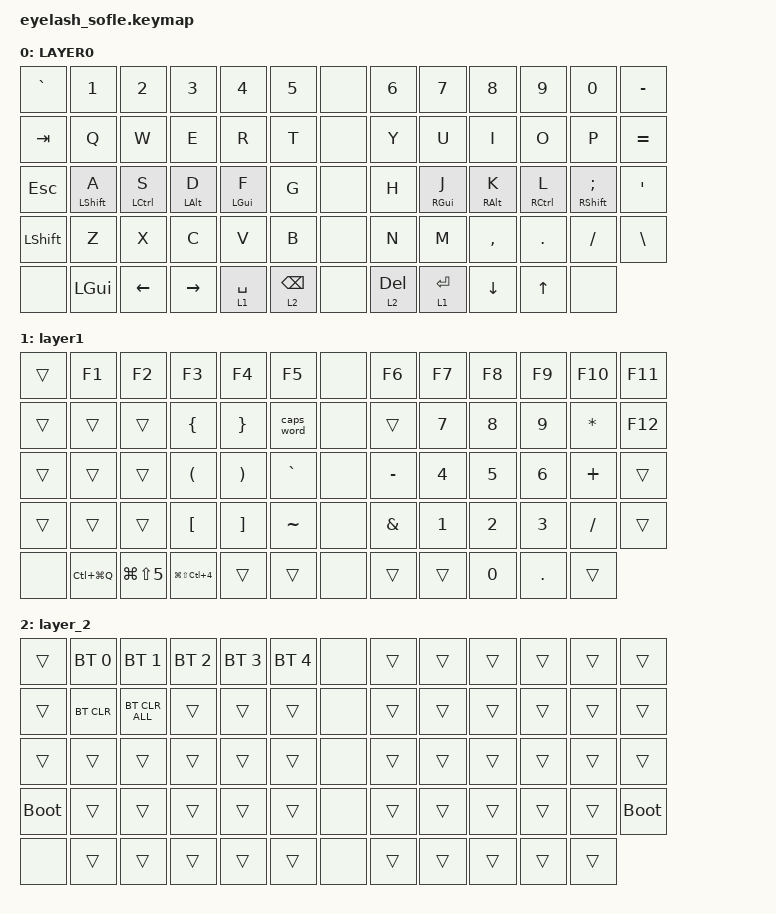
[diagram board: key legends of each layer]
#define ZMK_POINTING_DEFAULT_MOVE_VAL 1200  // 600
#define ZMK_POINTING_DEFAULT_SCRL_VAL 25   // 10

#include <input/processors.dtsi>
#include <zephyr/dt-bindings/input/input-event-codes.h>
#include <behaviors.dtsi>
#include <dt-bindings/zmk/bt.h>
#include <dt-bindings/zmk/keys.h>

&mmv_input_listener { input-processors = <&zip_xy_scaler 2 1>; };

&msc_input_listener { input-processors = <&zip_scroll_scaler 2 1>; };

// allow multiple taps when tap-hold  https://github.com/zmkfirmware/zmk/issues/288

&mt { quick_tap_ms = <200>; };

&lt { quick_tap_ms = <200>; };

/ {
    hml: hml {
        compatible = "zmk,behavior-hold-tap";
        label = "home_row_mod_left";
        bindings = <&kp>, <&kp>;

        #binding-cells = <2>;
        tapping-term-ms = <200>;
        quick-tap-ms = <175>;
        flavor = "balanced";
        hold-trigger-on-release;
        hold-trigger-key-positions = <59 60 46 33 20 7 9 11 12 21 22 23 24 25 34 35 36 37 38 47 48 49 50 51 61 62 63 8 9 10 11 21 22 23 24 34 35 36 37 47 48 49 0 1 2 3 4 5 13 14 15 16 17 18 26 27 28 29 30 31 39 40 41 42 43 44 53 54 55 56 57>;
    };

    hmr: hmr {
        compatible = "zmk,behavior-hold-tap";
        label = "home_row_mod_right";
        bindings = <&kp>, <&kp>;

        #binding-cells = <2>;
        tapping-term-ms = <200>;
        quick-tap-ms = <175>;
        flavor = "balanced";
        hold-trigger-on-release;
        hold-trigger-key-positions = <0 1 2 3 4 5 13 14 15 16 17 18 26 27 28 29 30 31 39 40 41 42 43 44 53 54 55 56 57 52 7 8 9 10 11 12 20 21 22 23 24 25 33 34 35 36 37 38 46 47 48 49 50 51 60 61 62 63 59>;
    };

    behaviors {
    };

    keymap {
        compatible = "zmk,keymap";

        layer0 {
            bindings = <
&kp GRAVE   &kp N1             &kp N2               &kp N3           &kp N4           &kp N5             &none  &kp N6        &kp N7            &kp N8            &kp N9                &kp N0                      &kp MINUS
&kp TAB     &kp Q              &kp W                &kp E            &kp R            &kp T              &none  &kp Y         &kp U             &kp I             &kp O                 &kp P                       &kp EQUAL
&kp ESCAPE  &hml LEFT_SHIFT A  &hml LEFT_CONTROL S  &hml LEFT_ALT D  &hml LEFT_GUI F  &kp G              &none  &kp H         &hmr RIGHT_GUI J  &hmr RIGHT_ALT K  &hmr RIGHT_CONTROL L  &hmr RIGHT_SHIFT SEMICOLON  &kp APOS
&kp LSHFT   &kp Z              &kp X                &kp C            &kp V            &kp B              &none  &kp N         &kp M             &kp COMMA         &kp DOT               &kp FSLH                    &kp BACKSLASH
&none       &kp LEFT_GUI       &kp LEFT_ARROW       &kp RIGHT_ARROW  &lt 1 SPACE      &lt 2 BACKSPACE    &none  &lt 2 DELETE  &lt 1 ENTER       &kp DOWN_ARROW    &kp UP_ARROW          &none
            >;

            display-name = "LAYER0";
        };

        layer_1 {
            bindings = <
&trans  &kp F1         &kp F2          &kp F3                    &kp F4                 &kp F5        &none  &kp F6         &kp F7        &kp F8        &kp F9        &kp F10       &kp F11
&trans  &trans         &trans          &kp LEFT_BRACE            &kp RIGHT_BRACE        &caps_word    &none  &trans         &kp N7        &kp N8        &kp N9        &kp ASTERISK  &kp F12
&trans  &trans         &trans          &kp LEFT_PARENTHESIS      &kp RIGHT_PARENTHESIS  &kp GRAVE     &none  &kp MINUS      &kp NUMBER_4  &kp N5        &kp NUMBER_6  &kp PLUS      &trans
&trans  &trans         &trans          &kp LEFT_BRACKET          &kp RIGHT_BRACKET      &kp TILDE     &none  &kp AMPERSAND  &kp NUMBER_1  &kp NUMBER_2  &kp NUMBER_3  &kp SLASH     &trans
&none   &kp LC(LG(Q))  &kp LG(LS(N5))  &kp LG(LS(LC(NUMBER_4)))  &trans                 &trans        &none  &trans         &trans        &kp N0        &kp PERIOD    &trans
            >;

            display-name = "layer1";
        };

        layer_2 {
            bindings = <
&trans       &bt BT_SEL 0  &bt BT_SEL 1    &bt BT_SEL 2  &bt BT_SEL 3  &bt BT_SEL 4    &none  &trans  &trans  &trans  &trans  &trans  &trans
&trans       &bt BT_CLR    &bt BT_CLR_ALL  &trans        &trans        &trans          &none  &trans  &trans  &trans  &trans  &trans  &trans
&trans       &trans        &trans          &trans        &trans        &trans          &none  &trans  &trans  &trans  &trans  &trans  &trans
&bootloader  &trans        &trans          &trans        &trans        &trans          &none  &trans  &trans  &trans  &trans  &trans  &bootloader
&none        &trans        &trans          &trans        &trans        &trans          &none  &trans  &trans  &trans  &trans  &trans
            >;
        };
    };
};
